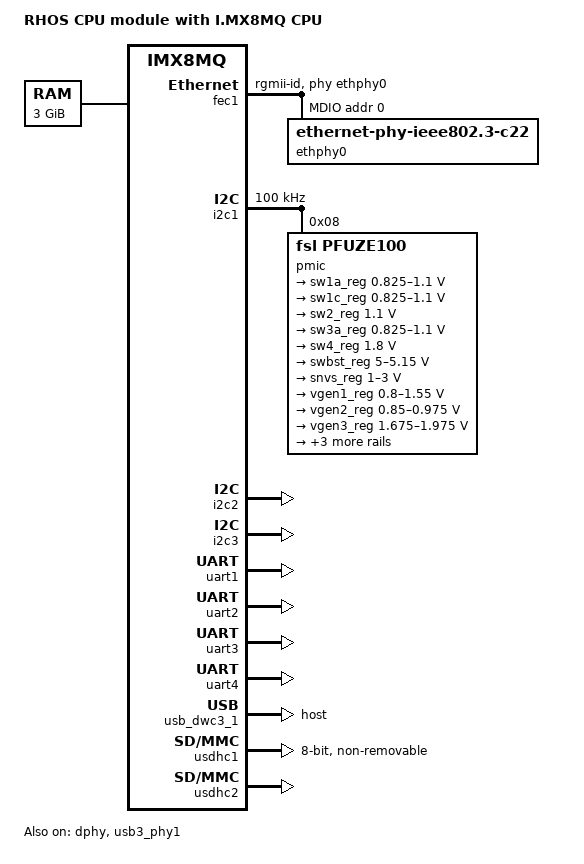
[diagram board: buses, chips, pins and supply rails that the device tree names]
// SPDX-License-Identifier: (GPL-2.0 OR MIT)
/*
 * Copyright (C) 2022 Radioavionica Corp., Alex A. Mihaylov <minimumlaw@rambler.ru>
 */

/dts-v1/;

#include "imx8mq.dtsi"

/ {
	model = "RHOS CPU module with I.MX8MQ CPU";
	compatible = "ravion,imx8mq-rhos", "fsl,imx8mq";

	chosen {
		stdout-path = &uart1;
	};

	memory@40000000 {
		device_type = "memory";
		reg = <0x00000000 0x40000000 0 0xc0000000>;
	};
};

#warning FIXME: sw4_reg incorrect value!!! For build only!!!
&A53_0 {
	cpu-supply = <&sw4_reg>;
};

&A53_1 {
	cpu-supply = <&sw4_reg>;
};

&A53_2 {
	cpu-supply = <&sw4_reg>;
};

&A53_3 {
	cpu-supply = <&sw4_reg>;
};

&ddrc {
	operating-points-v2 = <&ddrc_opp_table>;

	ddrc_opp_table: opp-table {
		compatible = "operating-points-v2";

		opp-25M {
			opp-hz = /bits/ 64 <25000000>;
		};

		opp-100M {
			opp-hz = /bits/ 64 <100000000>;
		};

		/*
		 * On imx8mq B0 PLL can't be bypassed so low bus is 166M
		 */
		opp-166M {
			opp-hz = /bits/ 64 <166935483>;
		};

		opp-800M {
			opp-hz = /bits/ 64 <800000000>;
		};
	};
};

&dphy {
	status = "okay";
};

&fec1 {
	pinctrl-names = "default";
	pinctrl-0 = <&pinctrl_rgmii>;
	phy-mode = "rgmii-id";
	phy-handle = <&ethphy0>;
	fsl,magic-packet;
	status = "okay";

	mdio {
		#address-cells = <1>;
		#size-cells = <0>;

		ethphy0: ethernet-phy@0 {
			compatible = "ethernet-phy-ieee802.3-c22";
			reg = <0>;
/*			reset-gpios = <&gpio1 9 GPIO_ACTIVE_LOW>;
			reset-assert-us = <10000>; 			*/
		};
	};
};

&i2c1 {
	clock-frequency = <100000>;
	pinctrl-names = "default";
	pinctrl-0 = <&pinctrl_i2c1>;
	status = "okay";

	pmic@8 {
		compatible = "fsl,pfuze100";
		reg = <0x8>;

		regulators {
			sw1a_reg: sw1ab {
				regulator-min-microvolt = <825000>;
				regulator-max-microvolt = <1100000>;
			};

			sw1c_reg: sw1c {
				regulator-min-microvolt = <825000>;
				regulator-max-microvolt = <1100000>;
			};

			sw2_reg: sw2 {
				regulator-min-microvolt = <1100000>;
				regulator-max-microvolt = <1100000>;
				regulator-always-on;
			};

			sw3a_reg: sw3ab {
				regulator-min-microvolt = <825000>;
				regulator-max-microvolt = <1100000>;
				regulator-always-on;
			};

			sw4_reg: sw4 {
				regulator-min-microvolt = <1800000>;
				regulator-max-microvolt = <1800000>;
				regulator-always-on;
			};

			swbst_reg: swbst {
				regulator-min-microvolt = <5000000>;
				regulator-max-microvolt = <5150000>;
			};

			snvs_reg: vsnvs {
				regulator-min-microvolt = <1000000>;
				regulator-max-microvolt = <3000000>;
				regulator-always-on;
			};

			vref_reg: vrefddr {
				regulator-always-on;
			};

			vgen1_reg: vgen1 {
				regulator-min-microvolt = <800000>;
				regulator-max-microvolt = <1550000>;
			};

			vgen2_reg: vgen2 {
				regulator-min-microvolt = <850000>;
				regulator-max-microvolt = <975000>;
				regulator-always-on;
			};

			vgen3_reg: vgen3 {
				regulator-min-microvolt = <1675000>;
				regulator-max-microvolt = <1975000>;
				regulator-always-on;
			};

			vgen4_reg: vgen4 {
				regulator-min-microvolt = <1625000>;
				regulator-max-microvolt = <1875000>;
				regulator-always-on;
			};

			vgen5_reg: vgen5 {
				regulator-min-microvolt = <3075000>;
				regulator-max-microvolt = <3625000>;
				regulator-always-on;
			};

			vgen6_reg: vgen6 {
				regulator-min-microvolt = <1800000>;
				regulator-max-microvolt = <3300000>;
			};
		};
	};
};

&i2c2 {
	pinctrl-names = "default";
	pinctrl-0 = <&pinctrl_i2c2>;
	status = "okay";
};

&i2c3 {
	pinctrl-names = "default";
	pinctrl-0 = <&pinctrl_smbus>;
	status = "okay";
};

&uart1 {
	pinctrl-names = "default";
	pinctrl-0 = <&pinctrl_uart1>;
	status = "okay";
};

&uart2 {
	pinctrl-names = "default";
	pinctrl-0 = <&pinctrl_uart2>;
	status = "okay";
};

&uart3 {
	pinctrl-names = "default";
	pinctrl-0 = <&pinctrl_uart3>;
	status = "okay";
};

&uart4 {
	pinctrl-names = "default";
	pinctrl-0 = <&pinctrl_btuart>;
	fsl,have-ctsrts;
	status = "okay";
};


&usb3_phy1 {
	status = "okay";
};

&usb_dwc3_1 {
	dr_mode = "host";
	status = "okay";
};

&usdhc1 {
	assigned-clocks = <&clk IMX8MQ_CLK_USDHC1>;
	assigned-clock-rates = <400000000>;
	pinctrl-names = "default";
	pinctrl-0 = <&pinctrl_emmc>;
	vqmmc-supply = <&sw4_reg>;
	bus-width = <8>;
	non-removable;
	no-sd;
	no-sdio;
	status = "okay";
};

&usdhc2 {
	assigned-clocks = <&clk IMX8MQ_CLK_USDHC2>;
	assigned-clock-rates = <200000000>;
	pinctrl-names = "default";
	pinctrl-0 = <&pinctrl_sdcard>;
	status = "okay";
};

&iomuxc {
	pinctrl_hog: hoggrp {
		fsl,pins = <
/* int */		MX8MQ_IOMUXC_SAI1_TXD7_GPIO4_IO19          0x00000016 /* add01 */
/* int */		MX8MQ_IOMUXC_SAI1_TXD3_GPIO4_IO15          0x00000016 /* add02 */
/* int */		MX8MQ_IOMUXC_SAI1_RXD5_GPIO4_IO7           0x00000016 /* add03 */
/* int */		MX8MQ_IOMUXC_SAI1_RXD7_GPIO4_IO9           0x00000016 /* add04 */
/* int */		MX8MQ_IOMUXC_SAI1_RXD4_GPIO4_IO6           0x00000016 /* add05 */
/* int */		MX8MQ_IOMUXC_SAI1_RXC_GPIO4_IO1            0x00000016 /* add06 */
/* int */		MX8MQ_IOMUXC_SAI1_RXFS_GPIO4_IO0           0x00000016 /* add07 */
/* int */		MX8MQ_IOMUXC_SAI1_TXD2_GPIO4_IO14          0x00000016 /* add08 */
/* int */		MX8MQ_IOMUXC_SAI1_TXD5_GPIO4_IO17          0x00000016 /* add09 */
/* int */		MX8MQ_IOMUXC_SAI1_TXD4_GPIO4_IO16          0x00000016 /* add10 */
/* int */		MX8MQ_IOMUXC_SAI1_TXD1_GPIO4_IO13          0x00000016 /* add11 */
/* int */		MX8MQ_IOMUXC_SAI1_RXD6_GPIO4_IO8           0x00000016 /* add12 */
/* int */		MX8MQ_IOMUXC_SAI1_RXD2_GPIO4_IO4           0x00000016 /* add13 */
/* int */		MX8MQ_IOMUXC_SAI1_RXD3_GPIO4_IO5           0x00000016 /* add14 */
/* int */		MX8MQ_IOMUXC_SAI1_RXD1_GPIO4_IO3           0x00000016 /* add15 */
/* int */		MX8MQ_IOMUXC_SAI1_TXD6_GPIO4_IO18          0x00000016 /* add16 */
/* int */		MX8MQ_IOMUXC_SAI3_TXD_GPIO5_IO1            0x00000016 /* add17 */
/* int */		MX8MQ_IOMUXC_SAI3_RXD_GPIO4_IO30           0x00000016 /* add18 */
/* int */		MX8MQ_IOMUXC_SAI3_TXFS_GPIO4_IO31          0x00000016 /* add19 */
/* int */		MX8MQ_IOMUXC_SAI2_RXC_GPIO4_IO22           0x00000016 /* add20 */
/* int */		MX8MQ_IOMUXC_SAI3_TXC_GPIO5_IO0            0x00001816 /* add21 */
/* int */		MX8MQ_IOMUXC_SAI3_RXC_GPIO4_IO29           0x00000016 /* add22 */
/* int */		MX8MQ_IOMUXC_SAI3_RXFS_GPIO4_IO28          0x00000016 /* add23 */
/* int */		MX8MQ_IOMUXC_SAI2_TXFS_GPIO4_IO24          0x00001816 /* add24 */
/* int */		MX8MQ_IOMUXC_SAI2_RXFS_GPIO4_IO21          0x00000016 /* add25 */
								    /* requested add26 */
/* int */		MX8MQ_IOMUXC_ECSPI2_SCLK_GPIO5_IO10        0x00001816 /* add28 */
/* int */		MX8MQ_IOMUXC_ECSPI2_MOSI_GPIO5_IO11        0x00000016 /* add29 */
/* int */		MX8MQ_IOMUXC_SAI2_TXD0_GPIO4_IO26          0x00000016 /* add30 */
/* int */		MX8MQ_IOMUXC_SAI2_MCLK_GPIO4_IO27          0x00000016 /* add31 */
/* int */		MX8MQ_IOMUXC_SAI2_TXC_GPIO4_IO25           0x00000016 /* add32 */
								    /* requested add33 */
/* int */		MX8MQ_IOMUXC_SPDIF_EXT_CLK_GPIO5_IO5       0x00000016 /* add34 */
/* int */		MX8MQ_IOMUXC_SPDIF_RX_GPIO5_IO4            0x00000016 /* add35 */
/* int */		MX8MQ_IOMUXC_SAI2_RXD0_GPIO4_IO23          0x00000016 /* add36 */
/* int */		MX8MQ_IOMUXC_NAND_CE0_B_GPIO3_IO1          0x00000016 /* add37 */
		>;
	};

	pinctrl_pwrctl: pwrctlgrp {
		fsl,pins = <
/* 139 */		MX8MQ_IOMUXC_GPIO1_IO02_GPIO1_IO2          0x00000056 /* PWR Button */
/* 141 */		MX8MQ_IOMUXC_GPIO1_IO03_GPIO1_IO3          0x00000016 /* PWR Kill */
		>;
	};

	pinctrl_uio0: uio0grp {
		fsl,pins = <
/* 146 */		MX8MQ_IOMUXC_NAND_CE1_B_GPIO3_IO2          0x00000016	/* UIO1_1 */
/* 148 */		MX8MQ_IOMUXC_NAND_CE2_B_GPIO3_IO3          0x00000016	/* UIO1_2 */
/* 150 */		MX8MQ_IOMUXC_NAND_CE3_B_GPIO3_IO4          0x00000016	/* UIO1_3 */
/* 152 */		MX8MQ_IOMUXC_NAND_CLE_GPIO3_IO5            0x00000016	/* UIO1_4 */
/* 154 */		MX8MQ_IOMUXC_NAND_DATA00_GPIO3_IO6         0x00000016	/* UIO1_5 */
/* 156 */		MX8MQ_IOMUXC_NAND_DATA01_GPIO3_IO7         0x00000016	/* UIO1_6 */
/* 158 */		MX8MQ_IOMUXC_NAND_DATA02_GPIO3_IO8         0x00000016	/* UIO1_7 */
/* 160 */		MX8MQ_IOMUXC_NAND_DATA03_GPIO3_IO9         0x00001816	/* UIO1_8 */
		>;
	};

	pinctrl_uio0: uio0grp {
		fsl,pins = <
/* 163 */		MX8MQ_IOMUXC_NAND_DATA04_GPIO3_IO10        0x00000016	/* UIO2_1 */
/* 165 */		MX8MQ_IOMUXC_NAND_DATA05_GPIO3_IO11        0x00000016	/* UIO2_2 */
/* 167 */		MX8MQ_IOMUXC_NAND_DATA06_GPIO3_IO12        0x00000016	/* UIO2_3 */
/* 169 */		MX8MQ_IOMUXC_NAND_DATA07_GPIO3_IO13        0x00000016	/* UIO2_4 */
/* 171 */		MX8MQ_IOMUXC_NAND_DQS_GPIO3_IO14           0x00000016	/* UIO2_5 */
/* 173 */		MX8MQ_IOMUXC_NAND_RE_B_GPIO3_IO15          0x00000016	/* UIO2_6 */
/* 175 */		MX8MQ_IOMUXC_NAND_READY_B_GPIO3_IO16       0x00000016	/* UIO2_7 */
/* 177 */		MX8MQ_IOMUXC_SAI5_RXD3_GPIO3_IO24          0x00000016	/* UIO2_8 */
		>;
	};

	pinctrl_uio0: uio0grp {
		fsl,pins = <
/* 164 */		MX8MQ_IOMUXC_NAND_WE_B_GPIO3_IO17          0x00000016	/* UIO3_1 */
/* 166 */		MX8MQ_IOMUXC_NAND_WP_B_GPIO3_IO18          0x00000016	/* UIO3_2 */
/* 168 */		MX8MQ_IOMUXC_SAI5_RXD2_GPIO3_IO23          0x00000016	/* UIO3_3 */
/* 170 */		MX8MQ_IOMUXC_SAI5_RXC_GPIO3_IO20           0x00000016	/* UIO3_4 */
/* 172 */		MX8MQ_IOMUXC_SAI5_RXD0_GPIO3_IO21          0x00000016	/* UIO3_5 */
/* 174 */		MX8MQ_IOMUXC_SAI5_RXD1_GPIO3_IO22          0x00001816	/* UIO3_6 */
/* 176 */		MX8MQ_IOMUXC_SAI5_RXFS_GPIO3_IO19          0x00000016	/* UIO3_7 */
/* 178 */		MX8MQ_IOMUXC_SAI5_MCLK_GPIO3_IO25          0x00000016	/* UIO3_8 */
		>;
	};

	pinctrl_spi: spigrp {
		fsl,pins = <
/* 117 */		MX8MQ_IOMUXC_ECSPI1_SCLK_ECSPI1_SCLK       0x00000016	/* SPI_SCK  */
/* 119 */		MX8MQ_IOMUXC_ECSPI1_MOSI_ECSPI1_MOSI       0x00000016	/* SPI_MOSI */
/* 121 */		MX8MQ_IOMUXC_ECSPI1_MISO_ECSPI1_MISO       0x00000016	/* SPI_MISO */
/* 123 */		MX8MQ_IOMUXC_ECSPI1_SS0_ECSPI1_SS0         0x00000016	/* SPI_CS   */
		>;
	};

	pinctrl_uart1: uart1grp {
		fsl,pins = <
/* 105 */		MX8MQ_IOMUXC_UART1_TXD_UART1_DCE_TX        0x00000016	/* CON RX1 */
/* 107 */		MX8MQ_IOMUXC_UART1_RXD_UART1_DCE_RX        0x00000016	/* CON TX1 */
		>;
	};

	pinctrl_uart2: uart2grp {
		fsl,pins = <
/* 106 */		MX8MQ_IOMUXC_UART2_TXD_UART2_DCE_TX        0x00000016	/* DED TX2 */
/* 108 */		MX8MQ_IOMUXC_UART2_RXD_UART2_DCE_RX        0x00000016	/* DED RX2 */
		>;
	};

	pinctrl_uart3: uart3grp {
		fsl,pins = <
/* 111 */		MX8MQ_IOMUXC_UART3_TXD_UART3_DCE_TX        0x00000016	/* DED TX3 */
/* 113 */		MX8MQ_IOMUXC_UART3_RXD_UART3_DCE_RX        0x00001816	/* DED RX3 */
		>;
	};

	pinctrl_btuart: btuartgrp {
		fsl,pins = <
/* 112 */		MX8MQ_IOMUXC_UART4_TXD_UART4_DCE_TX        0x00000016	/* BT  TX4 */
/* 114 */		MX8MQ_IOMUXC_UART4_RXD_UART4_DCE_RX        0x00000016	/* BT  RX4 */
/* 116 */		MX8MQ_IOMUXC_ECSPI2_MISO_UART4_DCE_CTS_B   0x00000016	/* BT CTS4 */
/* 118 */		MX8MQ_IOMUXC_ECSPI2_SS0_UART4_DCE_RTS_B    0x00000016	/* BT RTS4 */
		>;
	};

	pinctrl_rgmii: rgmiigrp {
		fsl,pins = <
/* int */		MX8MQ_IOMUXC_ENET_MDC_ENET1_MDC            0x00000016
/* int */		MX8MQ_IOMUXC_ENET_MDIO_ENET1_MDIO          0x00000016
/* int */		MX8MQ_IOMUXC_ENET_RD0_ENET1_RGMII_RD0      0x00000016
/* int */		MX8MQ_IOMUXC_ENET_RD1_ENET1_RGMII_RD1      0x00000016
/* int */		MX8MQ_IOMUXC_ENET_RD2_ENET1_RGMII_RD2      0x00000016
/* int */		MX8MQ_IOMUXC_ENET_RD3_ENET1_RGMII_RD3      0x00000016
/* int */		MX8MQ_IOMUXC_ENET_RXC_ENET1_RGMII_RXC      0x00000016
/* int */		MX8MQ_IOMUXC_ENET_RX_CTL_ENET1_RGMII_RX_CTL 0x00000016
/* int */		MX8MQ_IOMUXC_ENET_TD0_ENET1_RGMII_TD0      0x00000016
/* int */		MX8MQ_IOMUXC_ENET_TD1_ENET1_RGMII_TD1      0x00000016
/* int */		MX8MQ_IOMUXC_ENET_TD2_ENET1_RGMII_TD2      0x00000016
/* int */		MX8MQ_IOMUXC_ENET_TD3_ENET1_RGMII_TD3      0x00000016
/* int */		MX8MQ_IOMUXC_ENET_TXC_ENET1_RGMII_TXC      0x00000016
/* int */		MX8MQ_IOMUXC_ENET_TX_CTL_ENET1_RGMII_TX_CTL 0x00001816
/* int */		MX8MQ_IOMUXC_GPIO1_IO00_CCMSRCGPCMIX_ENET_PHY_REF_CLK_ROOT 0x00000014
		>;
	};

	pinctrl_i2c1: i2c1grp {
		fsl,pins = <
/* 099 */		MX8MQ_IOMUXC_I2C1_SDA_I2C1_SDA             0x00000016 /* I2C1 SDA */
/* 101 */		MX8MQ_IOMUXC_I2C1_SCL_I2C1_SCL             0x00000016 /* I2C1 SCL */
		>;
	};

	pinctrl_i2c2: i2c2grp {
		fsl,pins = <
/* 100 */		MX8MQ_IOMUXC_I2C2_SDA_I2C2_SDA             0x00000016 /* I2C2 SDA */
/* 102 */		MX8MQ_IOMUXC_I2C2_SCL_I2C2_SCL             0x00000016 /* I2C2 SCL */
		>;
	};

	pinctrl_smbus: smbusgrp {
		fsl,pins = <
/* 127 */		MX8MQ_IOMUXC_I2C3_SCL_I2C3_SCL             0x00001816 /* SMB_SCL   */
/* 129 */		MX8MQ_IOMUXC_I2C3_SDA_I2C3_SDA             0x00000016 /* SMB_SDA   */
/* 131 */		MX8MQ_IOMUXC_GPIO1_IO01_GPIO1_IO1          0x00000016 /* SMB_ALERT */
/* 133 */		MX8MQ_IOMUXC_GPIO1_IO05_GPIO1_IO5          0x00000056 /* SMB_IN    */
/* 135 */		MX8MQ_IOMUXC_GPIO1_IO06_GPIO1_IO6          0x00000016 /* SMB_OUT   */
		>;
	};

	pinctrl_emmc: emmcgrp {
		fsl,pins = <
/* int */		MX8MQ_IOMUXC_SD1_CLK_USDHC1_CLK            0x00000016 /* eMMC CLK  */
/* int */		MX8MQ_IOMUXC_SD1_CMD_USDHC1_CMD            0x00000016 /* eMMC CMD  */
/* int */		MX8MQ_IOMUXC_SD1_DATA0_USDHC1_DATA0        0x00000016 /* eMMC DAT0 */
/* int */		MX8MQ_IOMUXC_SD1_DATA1_USDHC1_DATA1        0x00000016 /* eMMC DAT1 */
/* int */		MX8MQ_IOMUXC_SD1_DATA2_USDHC1_DATA2        0x00000016 /* eMMC DAT2 */
/* int */		MX8MQ_IOMUXC_SD1_DATA3_USDHC1_DATA3        0x00001816 /* eMMC DAT3 */
/* int */		MX8MQ_IOMUXC_SD1_DATA4_USDHC1_DATA4        0x00000016 /* eMMC DAT4 */
/* int */		MX8MQ_IOMUXC_SD1_DATA5_USDHC1_DATA5        0x00000016 /* eMMC DAT5 */
/* int */		MX8MQ_IOMUXC_SD1_DATA6_USDHC1_DATA6        0x00000016 /* eMMC DAT6 */
/* int */		MX8MQ_IOMUXC_SD1_DATA7_USDHC1_DATA7        0x00000016 /* eMMC DAT7 */
/* int */		MX8MQ_IOMUXC_SD1_RESET_B_USDHC1_RESET_B    0x00000016 /* eMMC RST  */
/* int */		MX8MQ_IOMUXC_SD1_STROBE_USDHC1_STROBE      0x00000016 /* eMMC ???? */
		>;
	};

	pinctrl_sdcard: sdcardgrp {
		fsl,pins = <
/* 145 */		MX8MQ_IOMUXC_SD2_CMD_USDHC2_CMD            0x00000016 /* SDMMC1 CMD  */
/* 147 */		MX8MQ_IOMUXC_SD2_CLK_USDHC2_CLK            0x00000016 /* SDMMC1 CLK  */
/* 149 */		MX8MQ_IOMUXC_SD2_DATA0_USDHC2_DATA0        0x00001816 /* SDMMC1 DAT0 */
/* 151 */		MX8MQ_IOMUXC_SD2_DATA1_USDHC2_DATA1        0x00000016 /* SDMMC1 DAT1 */
/* 153 */		MX8MQ_IOMUXC_SD2_DATA2_USDHC2_DATA2        0x00000016 /* SDMMC1 DAT2 */
/* 155 */		MX8MQ_IOMUXC_SD2_DATA3_USDHC2_DATA3        0x00000016 /* SDMMC1 DAT3 */
/* 157 */		MX8MQ_IOMUXC_SD2_RESET_B_GPIO2_IO19        0x00000016 /* SDMMC1_PWR  */
/* 159 */		MX8MQ_IOMUXC_GPIO1_IO04_USDHC2_VSELECT     0x00000016 /* SDMMC1_18EN */
		>;
	};

	pinctrl_sai: saigrp {
		fsl,pins = <
/* 128 */		MX8MQ_IOMUXC_SAI1_MCLK_SAI1_MCLK           0x00000016 /* I2S MCLK */
/* 130 */		MX8MQ_IOMUXC_SAI1_TXC_SAI1_TX_BCLK         0x00000016 /* I2S BCLK */
/* 132 */		MX8MQ_IOMUXC_SAI1_TXFS_SAI1_TX_SYNC        0x00001816 /* I2S WS   */
/* 134 */		MX8MQ_IOMUXC_SAI1_RXD0_SAI1_RX_DATA0       0x00000016 /* I2S DI   */
/* 136 */		MX8MQ_IOMUXC_SAI1_TXD0_SAI1_TX_DATA0       0x00000016 /* I2S DO   */
		>;
	};

	pinctrl_pwm3: pwm3grp {
		fsl,pins = <
/* 122 */		MX8MQ_IOMUXC_SPDIF_TX_PWM3_OUT             0x00000016 /* PWM0 */
		>;
	};

	pinctrl_pwm4: pwm4grp {
		fsl,pins = <
/* 124 */		MX8MQ_IOMUXC_SAI3_MCLK_PWM4_OUT            0x00000016 /* PWM1 */
		>;
	};

	pinctrl_otg1: otg1grp {
		fsl,pins = <
/* 006 */		MX8MQ_IOMUXC_GPIO1_IO10_USB1_OTG_ID        0x00000016	/* USB1_ID  */
/* 008 */									/* USB1_VBUS */
/* 010 */									/* USB1_DP  */
/* 012 */									/* USB1_DM  */
/* 014 */		MX8MQ_IOMUXC_GPIO1_IO12_USB1_OTG_PWR       0x00000016	/* USB1_PEN */
/* 016 */		MX8MQ_IOMUXC_GPIO1_IO13_USB1_OTG_OC        0x00000016	/* USB1_OC  */
/* 018 */									/* USB1_RXP */
/* 020 */									/* USB1_RXM */
/* 022 */									/* USB1_TXP */
/* 024 */									/* USB1_TXM */
		>;
	};

	pinctrl_otg2: otg2grp {
		fsl,pins = <
/* 005 */		MX8MQ_IOMUXC_GPIO1_IO11_USB2_OTG_ID        0x00000016	/* USB2_ID  */
/* 007 */									/* USB2_VBUS */
/* 009 */									/* USB2_DP  */
/* 011 */									/* USB2_DM  */
/* 013 */		MX8MQ_IOMUXC_GPIO1_IO07_GPIO1_IO7          0x00001816	/* USB2_PEN */
/* 015 */		MX8MQ_IOMUXC_GPIO1_IO08_GPIO1_IO8          0x00000016	/* USB2_OC  */
/* 017 */									/* USB2_RXP */
/* 019 */									/* USB2_RXM */
/* 021 */									/* USB2_TXP */
/* 023 */									/* USB2_TXM */
		>;
	};

	pinctrl_pcie1: pcie1grp {
		fsl,pins = <
/* 029 */									/* PCIE0_CLKM */
/* 031 */									/* PCIE0_CLKP */
/* 033 */									/* PCIE0_RX0M */
/* 035 */									/* PCIE0_RX0P */
/* 037 */									/* PCIE0_TX0M */
/* 039 */									/* PCIE0_TX0P */
/* 041 */		MX8MQ_IOMUXC_GPIO1_IO09_GPIO1_IO9          0x00000016	/* PCIE0_PERSTn */
/* 043 */									/* ---------- */
/* 045 */									/* ---------- */
/* 047 */									/* ---------- */
/* 049 */									/* ---------- */
/* 051 */		MX8MQ_IOMUXC_SD2_WP_GPIO2_IO20             0x00000016	/* PCIE0_WAKE   */
/* 053 */									/* ---------- */
/* 055 */									/* ---------- */
/* 057 */									/* ---------- */
/* 059 */									/* ---------- */
/* 061 */		MX8MQ_IOMUXC_I2C4_SCL_PCIE1_CLKREQ_B       0x00000016	/* PCIE0_CLKREQ */
/* 063 */									/* ---------- */
/* 065 */									/* ---------- */
/* 067 */									/* ---------- */
/* 069 */									/* ---------- */
		>;
	};

	pinctrl_pcie2: pcie2grp {
		fsl,pins = <
/* 030 */									/* PCIE1_CLKM */
/* 032 */									/* PCIE1_CLKP */
/* 034 */									/* PCIE1_RX0M */
/* 036 */									/* PCIE1_RX0P */
/* 038 */									/* PCIE1_TX0M */
/* 040 */									/* PCIE1_TX0P */
/* 042 */		MX8MQ_IOMUXC_SD2_CD_B_GPIO2_IO12           0x00000016	/* PCIE1_PERSTn */
/* 044 */									/* ---------- */
/* 046 */									/* ---------- */
/* 048 */									/* ---------- */
/* 050 */									/* ---------- */
/* 052 */		MX8MQ_IOMUXC_NAND_ALE_GPIO3_IO0            0x00000016	/* PCIE1_WAKE   */
/* 054 */									/* ---------- */
/* 056 */									/* ---------- */
/* 058 */									/* ---------- */
/* 060 */									/* ---------- */
/* 062 */		MX8MQ_IOMUXC_I2C4_SDA_PCIE2_CLKREQ_B       0x00000016	/* PCIE1_CLKREQ */
/* 064 */									/* ---------- */
/* 066 */									/* ---------- */
/* 068 */									/* ---------- */
/* 070 */									/* ---------- */
		>;
	};

	pinctrl_clko1: clko1grp {
		fsl,pins = <
/* 140 */		MX8MQ_IOMUXC_GPIO1_IO14_CCMSRCGPCMIX_CLKO1 0x00000016	/* CLKO0 */
		>;
	};

	pinctrl_clko2: clko2grp {
		fsl,pins = <
/* 142 */		MX8MQ_IOMUXC_GPIO1_IO15_CCMSRCGPCMIX_CLKO2 0x00000016	/* CLKO1 */
		>;
	};
};
